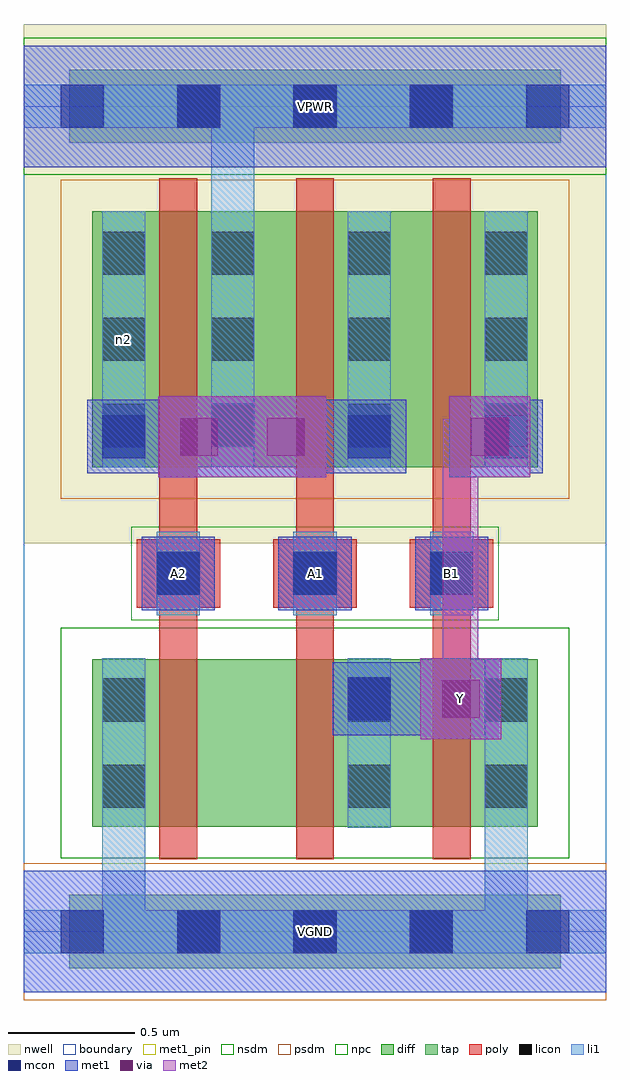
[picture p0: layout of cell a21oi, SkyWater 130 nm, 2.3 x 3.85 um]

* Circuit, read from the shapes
.subckt a21oi A1 A2 B1 VGND VPWR Y n2
XM1 n1 A2 VGND VGND sky130_fd_pr__nfet_01v8 w=0.66 l=0.15
XM2 Y A1 n1 VGND sky130_fd_pr__nfet_01v8 w=0.66 l=0.15
XM3 VGND B1 Y VGND sky130_fd_pr__nfet_01v8 w=0.66 l=0.15
XM4 VPWR A2 n2 VPWR sky130_fd_pr__pfet_01v8 w=1.01 l=0.15
XM5 n2 A1 VPWR VPWR sky130_fd_pr__pfet_01v8 w=1.01 l=0.15
XM6 Y B1 n2 VPWR sky130_fd_pr__pfet_01v8 w=1.01 l=0.15
.ends

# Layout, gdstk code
import gdstk
lib = gdstk.Library(unit=1e-6, precision=1e-09)
def R(c, l, rs):  # rectangles x0, y0, x1, y1
    for r in rs: c.add(gdstk.rectangle(r[:2], r[2:], *l))
def A(c, l, x, y, w, h, nx, ny, dx, dy):  # array of equal rectangles
    R(c, l, [(x+i*dx, y+j*dy, x+i*dx+w, y+j*dy+h) for i in range(nx) for j in range(ny)])
nwell = (64, 20)
diff = (65, 20)
tap = (65, 44)
poly = (66, 20)
licon = (66, 44)
li1 = (67, 20)
mcon = (67, 44)
met1_pin = (68, 16)
met1 = (68, 20)
via = (68, 44)
met2 = (69, 20)
nsdm = (93, 44)
psdm = (94, 20)
npc = (95, 20)
boundary = (235, 4)

a21oi = lib.new_cell('a21oi')
R(a21oi, nwell, [(0,1.535,2.3,3.585)])
R(a21oi, diff, [(0.27,0.415,2.03,1.075), (0.27,1.835,2.03,2.845)])
R(a21oi, tap, [(0.18,-0.145,2.12,0.145), (0.18,3.115,2.12,3.405)])
A(a21oi, poly, 0.535, 0.285, 0.15, 2.69, 3, 1, 0.54, 0)
A(a21oi, poly, 0.445, 1.28, 0.33, 0.27, 3, 1, 0.54, 0)
A(a21oi, licon, 0.605, -0.085, 0.17, 0.17, 3, 2, 0.46, 3.26)
A(a21oi, licon, 0.525, 1.33, 0.17, 0.17, 3, 1, 0.54, 0)
A(a21oi, licon, 0.31, 1.915, 0.17, 0.17, 1, 3, 0, 0.34)
A(a21oi, licon, 0.74, 1.915, 0.17, 0.17, 3, 3, 0.54, 0.34)
R(a21oi, licon, [(0.31,0.49,0.48,0.66), (1.28,0.49,1.45,0.66), (1.82,0.49,1.99,0.66), (0.31,0.83,0.48,1), (1.28,0.83,1.45,1), (1.82,0.83,1.99,1)])
A(a21oi, li1, 0.525, 1.25, 0.17, 0.33, 3, 1, 0.54, 0)
A(a21oi, li1, 0.74, 1.835, 0.17, 1.01, 3, 1, 0.54, 0)
R(a21oi, li1, [(0,-0.085,2.3,0.085), (0.31,-0.085,0.48,1.08), (1.82,-0.085,1.99,1.08), (0.31,0.41,0.48,1.08), (1.28,0.41,1.45,1.08), (1.82,0.41,1.99,1.08), (0.31,1.835,0.48,2.845), (0.74,1.835,0.91,3.345), (0,3.175,2.3,3.345)])
A(a21oi, mcon, 0.145, -0.085, 0.17, 0.17, 5, 2, 0.46, 3.26)
A(a21oi, mcon, 0.525, 1.33, 0.17, 0.17, 3, 1, 0.54, 0)
R(a21oi, mcon, [(1.28,0.835,1.45,1.005), (0.31,1.87,0.48,2.04), (1.28,1.87,1.45,2.04), (1.82,1.87,1.99,2.04)])
A(a21oi, met1_pin, 0.465, 1.27, 0.29, 0.29, 3, 1, 0.54, 0)
R(a21oi, met1_pin, [(0,-0.24,2.3,0.24), (1.565,0.76,1.885,1.08), (0,3.02,2.3,3.5)])
A(a21oi, met1, 0.465, 1.27, 0.29, 0.29, 3, 1, 0.54, 0)
R(a21oi, met1, [(0,-0.24,2.3,0.24), (1.565,0.76,1.885,1.08), (1.22,0.775,1.51,1.065), (1.51,0.775,1.565,1.065), (1.295,0.85,1.565,0.99), (1.425,0.85,1.795,0.99), (0.53,1.795,0.85,2.115), (0.85,1.795,0.875,2.115), (0.875,1.795,1.195,2.115), (1.68,1.795,2,2.115), (0.25,1.81,0.54,2.1), (1.195,1.81,1.22,2.1), (1.22,1.81,1.51,2.1), (1.76,1.81,2.05,2.1), (0.325,1.885,0.645,2.025), (0.505,1.885,0.76,2.025), (0.76,1.885,0.875,2.025), (0.85,1.885,0.965,2.025), (0.965,1.885,1.335,2.025), (1.195,1.885,1.435,2.025), (1.77,1.885,1.975,2.025), (0,3.02,2.3,3.5)])
R(a21oi, via, [(1.65,0.845,1.8,0.995), (0.615,1.88,0.765,2.03), (0.96,1.88,1.11,2.03), (1.765,1.88,1.915,2.03)])
R(a21oi, met2, [(1.565,0.76,1.885,1.08), (1.655,0.85,1.795,2.025), (0.53,1.795,0.85,2.115), (0.85,1.795,0.875,2.115), (0.875,1.795,1.195,2.115), (1.68,1.795,2,2.115), (0.62,1.885,1.105,2.025), (1.655,1.885,1.91,2.025)])
R(a21oi, nsdm, [(0.145,0.29,2.155,1.2), (0,2.99,2.3,3.53)])
R(a21oi, psdm, [(0,-0.27,2.3,0.27), (0.145,1.71,2.155,2.97)])
R(a21oi, npc, [(0.425,1.23,1.875,1.6)])
R(a21oi, boundary, [(0,0,2.3,3.26)])
a21oi.add(gdstk.Label('n2', (0.395,2.34), layer=67, texttype=5))
a21oi.add(gdstk.Label('A1', (1.15,1.415), layer=68, texttype=5))
a21oi.add(gdstk.Label('A2', (0.61,1.415), layer=68, texttype=5))
a21oi.add(gdstk.Label('B1', (1.69,1.415), layer=68, texttype=5))
a21oi.add(gdstk.Label('Y', (1.725,0.92), layer=68, texttype=5))
a21oi.add(gdstk.Label('VPWR', (1.15,3.26), layer=68, texttype=5))
a21oi.add(gdstk.Label('VGND', (1.15,0), layer=68, texttype=5))
a21oi.add(gdstk.Label('A1', (1.15,1.415), layer=68, texttype=16))
a21oi.add(gdstk.Label('A2', (0.61,1.415), layer=68, texttype=16))
a21oi.add(gdstk.Label('B1', (1.69,1.415), layer=68, texttype=16))
a21oi.add(gdstk.Label('Y', (1.725,0.92), layer=68, texttype=16))
a21oi.add(gdstk.Label('VPWR', (1.15,3.26), layer=68, texttype=16))
a21oi.add(gdstk.Label('VGND', (1.15,0), layer=68, texttype=16))

lib.write_gds('a21oi.gds')
